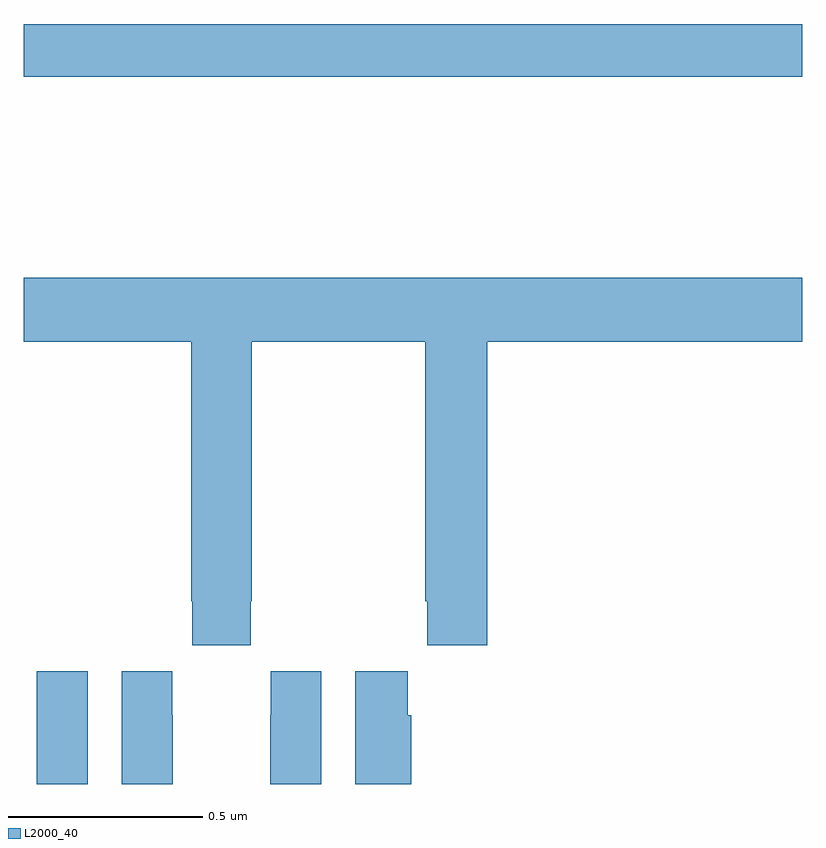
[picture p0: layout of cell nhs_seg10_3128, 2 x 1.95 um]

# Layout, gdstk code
import gdstk
lib = gdstk.Library(unit=1e-6, precision=1e-09)
def R(c, l, rs):  # rectangles x0, y0, x1, y1
    for r in rs: c.add(gdstk.rectangle(r[:2], r[2:], *l))
def P(c, l, *ps):  # polygons
    for p in ps: c.add(gdstk.Polygon(p, *l))
L2000_40 = (2000, 40)

nhs_seg10_3128 = lib.new_cell('nhs_seg10_3128')
R(nhs_seg10_3128, L2000_40, [(149,1314.316,151,1314.452)])
P(nhs_seg10_3128, L2000_40, [(149.583,1312.969),(149.586,1312.969),(149.586,1313.636),(150.031,1313.636),(150.031,1312.969),(150.037,1312.969),(150.037,1312.857),(150.191,1312.857),(150.191,1313.636),(151,1313.636),(151,1313.8),(149,1313.8),(149,1313.636),(149.431,1313.636),(149.431,1312.969),(149.433,1312.969),(149.433,1312.857),(149.583,1312.857)],
  [(149.164,1312.789),(149.034,1312.789),(149.034,1312.676),(149.033,1312.676),(149.033,1312.5),(149.164,1312.5)],
  [(149.383,1312.676),(149.382,1312.676),(149.382,1312.789),(149.252,1312.789),(149.252,1312.5),(149.383,1312.5)],
  [(149.764,1312.789),(149.634,1312.789),(149.634,1312.676),(149.633,1312.676),(149.633,1312.5),(149.764,1312.5)],
  [(149.996,1312.676),(149.986,1312.676),(149.986,1312.789),(149.852,1312.789),(149.852,1312.5),(149.996,1312.5)])

lib.write_gds('nhs_seg10_3128.gds')
